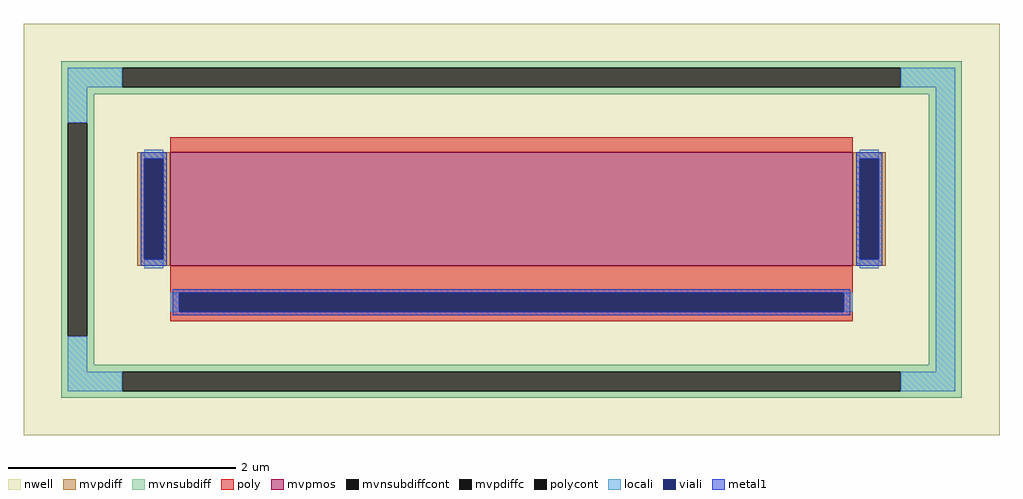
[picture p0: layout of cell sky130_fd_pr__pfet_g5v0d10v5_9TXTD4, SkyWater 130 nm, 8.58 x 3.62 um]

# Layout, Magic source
magic
tech sky130A
magscale 1 2
<< nwell >>
rect -858 -362 858 362
<< mvpmos >>
rect -600 -64 600 136
<< mvpdiff >>
rect -658 124 -600 136
rect -658 -52 -646 124
rect -612 -52 -600 124
rect -658 -64 -600 -52
rect 600 124 658 136
rect 600 -52 612 124
rect 646 -52 658 124
rect 600 -64 658 -52
<< mvpdiffc >>
rect -646 -52 -612 124
rect 612 -52 646 124
<< mvnsubdiff >>
rect -792 284 792 296
rect -792 250 -684 284
rect 684 250 792 284
rect -792 238 792 250
rect -792 188 -734 238
rect -792 -188 -780 188
rect -746 -188 -734 188
rect -792 -238 -734 -188
rect 734 -238 792 238
rect -792 -250 792 -238
rect -792 -284 -684 -250
rect 684 -284 792 -250
rect -792 -296 792 -284
<< mvnsubdiffcont >>
rect -684 250 684 284
rect -780 -188 -746 188
rect -684 -284 684 -250
<< poly >>
rect -600 136 600 162
rect -600 -111 600 -64
rect -600 -145 -584 -111
rect 584 -145 600 -111
rect -600 -161 600 -145
<< polycont >>
rect -584 -145 584 -111
<< locali >>
rect -780 250 -684 284
rect 684 250 780 284
rect -780 188 -746 250
rect -646 124 -612 140
rect -646 -68 -612 -52
rect 612 124 646 140
rect 612 -68 646 -52
rect -600 -145 -584 -111
rect 584 -145 600 -111
rect -780 -250 -746 -188
rect 746 -250 780 250
rect -780 -284 -684 -250
rect 684 -284 780 -250
<< viali >>
rect -646 -52 -612 124
rect 612 -52 646 124
rect -584 -145 584 -111
<< metal1 >>
rect -652 124 -606 136
rect -652 -52 -646 124
rect -612 -52 -606 124
rect -652 -64 -606 -52
rect 606 124 652 136
rect 606 -52 612 124
rect 646 -52 652 124
rect 606 -64 652 -52
rect -596 -111 596 -105
rect -596 -145 -584 -111
rect 584 -145 596 -111
rect -596 -151 596 -145
<< properties >>
string FIXED_BBOX -763 -267 763 267
string gencell sky130_fd_pr__pfet_g5v0d10v5
string library sky130
string parameters w 1 l 6 m 1 nf 1 diffcov 100 polycov 100 guard 1 glc 1 grc 0 gtc 1 gbc 1 tbcov 100 rlcov 100 topc 0 botc 1 poverlap 0 doverlap 1 lmin 0.50 wmin 0.42 compatible {sky130_fd_pr__pfet_01v8  sky130_fd_pr__pfet_01v8_lvt sky130_fd_pr__pfet_01v8_hvt  sky130_fd_pr__pfet_g5v0d10v5} full_metal 1 viasrc 100 viadrn 100 viagate 100 viagb 0 viagr 0 viagl 0 viagt 0
<< end >>
